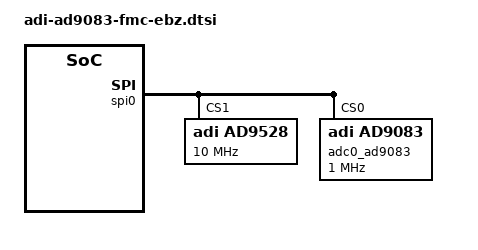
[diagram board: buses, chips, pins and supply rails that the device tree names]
// SPDX-License-Identifier: GPL-2.0
/*
 * dts file for AD9172-FMC-EBZ on Xilinx ZynqMP ZCU102 Rev 1.0
 *
 * Copyright (C) 2018-2019 Analog Devices Inc.
 */
#include <dt-bindings/iio/frequency/ad9528.h>
#include <dt-bindings/iio/adc/adi,ad9083.h>

&spi0 {
	ad9528: ad9528@1 {
		compatible = "adi,ad9528";
		reg = <1>;
		spi-cpol;
		spi-cpha;
		#address-cells = <1>;
		#size-cells = <0>;

		jesd204-device;
		#jesd204-cells = <2>;
		jesd204-sysref-provider;

		spi-max-frequency = <10000000>;
		adi,spi-3wire-enable;

		clock-output-names = "ad9528-1_out0", "ad9528-1_out1", "ad9528-1_out2",
			"ad9528-1_out3", "ad9528-1_out4", "ad9528-1_out5", "ad9528-1_out6",
			"ad9528-1_out7", "ad9528-1_out8", "ad9528-1_out9", "ad9528-1_out10",
			"ad9528-1_out11", "ad9528-1_out12", "ad9528-1_out13";
		#clock-cells = <1>;

		adi,vcxo-freq = <100000000>;

		adi,refa-enable;
		adi,refa-diff-rcv-enable;
		adi,refa-r-div = <1>;
		adi,osc-in-cmos-neg-inp-enable;

		/* SYSREF config */
		adi,sysref-src = <SYSREF_SRC_INTERNAL>;
		adi,sysref-pattern-mode = <SYSREF_PATTERN_NSHOT>;
		adi,sysref-k-div = <256>;
		adi,sysref-nshot-mode = <SYSREF_NSHOT_4_PULSES>;
		adi,sysref-request-trigger-mode = <SYSREF_LEVEL_HIGH>;
		adi,jesd204-max-sysref-frequency-hz = <400000>;

		/* PLL1 config */
		adi,pll1-feedback-src-vcxo;
		adi,pll1-feedback-div = <4>;
		adi,pll1-charge-pump-current-nA = <5000>;
		adi,osc-in-diff-enable;

		/* PLL2 config */
		/*
		 * Valid ranges based on VCO locking range:
		 *   1150.000 MHz - 1341.666 MHz
		 *    862.500 MHz - 1006.250 MHz
		 *    690.000 MHz -  805.000 MHz
		 */
		adi,pll2-m1-frequency = <1000000000>;
		adi,pll2-charge-pump-current-nA = <805000>;

		adi,rpole2 = <RPOLE2_900_OHM>;
		adi,rzero = <RZERO_1850_OHM>;
		adi,cpole1 = <CPOLE1_16_PF>;

		adi,status-mon-pin0-function-select = <0xFF>; /* No function */
		adi,status-mon-pin1-function-select = <0xFF>; /* No function */

		ad9528_0_c1: channel@1 {
			reg = <1>;
			adi,extended-name = "FPGA_GLBL_CLK";
			adi,driver-mode = <DRIVER_MODE_LVDS>;
			adi,divider-phase = <0>;
			adi,channel-divider = <8>; /* 125 MHz */
			adi,signal-source = <SOURCE_VCO>;
		};

		ad9528_0_c3: channel@3 {
			reg = <3>;
			adi,extended-name = "FPGA_REF_CLK";
			adi,driver-mode = <DRIVER_MODE_LVDS>;
			adi,divider-phase = <0>;
			adi,channel-divider = <2>; /* 500 MHz */
			adi,signal-source = <SOURCE_VCO>;
		};

		ad9528_0_c13: channel@13 {
			reg = <13>;
			adi,extended-name = "ADC_REF_CLK";
			adi,driver-mode = <DRIVER_MODE_LVDS>;
			adi,divider-phase = <0>;
			adi,channel-divider = <4>; /* 250 MHz */
			adi,signal-source = <SOURCE_VCO>;
		};

		ad9528_0_c12: channel@12 {
			reg = <12>;
			adi,extended-name = "DEV_SYSREF";
			adi,driver-mode = <DRIVER_MODE_LVDS>;
			adi,divider-phase = <0>;
			adi,channel-divider = <5>;
			adi,signal-source = <SOURCE_SYSREF_VCO>;
		};

		ad9528_0_c0: channel@0 {
			reg = <0>;
			adi,extended-name = "FMC_SYSREF";
			adi,driver-mode = <DRIVER_MODE_LVDS>;
			adi,divider-phase = <0>;
			adi,channel-divider = <5>;
			adi,signal-source = <SOURCE_SYSREF_VCO>;
		};
	};

	adc0_ad9083: ad9083@0 {
		compatible = "adi,ad9083";
		reg = <0>;

		jesd204-device;
		#jesd204-cells = <2>;
		jesd204-top-device = <0>;
		jesd204-link-ids = <0>;
		jesd204-inputs = <&axi_ad9083_core_rx 0 0>;

		spi-max-frequency = <1000000>;
		clocks = <&ad9528 13>;
		clock-names = "adc_ref_clk";
		adi,adc-frequency-hz= /bits/ 64 <2000000000>; /* 2 GHz */

		/* adi_ad9083 config */

		adi,vmax-microvolt = <1800>;
		adi,fc-hz =  /bits/ 64 <800000000>;
		adi,rterm-ohms = <100>;
		adi,backoff = <0>;
		adi,finmax-hz = /bits/ 64 <100000000>;
		adi,nco0_freq-hz = /bits/ 64 <0>;
		adi,nco1_freq-hz = /bits/ 64 <0>;
		adi,nco2_freq-hz = /bits/ 64 <0>;
		adi,cic_decimation = /bits/ 8 <AD9083_CIC_DEC_4>;
		adi,j_decimation = /bits/ 8 <AD9083_J_DEC_4>;
		adi,g_decimation = /bits/ 8 <0>;
		adi,h_decimation = /bits/ 8 <0>;
		adi,nco0_datapath_mode = /bits/ 8 <AD9083_DATAPATH_ADC_CIC_J>;

		/* JESD204 parameters */

		adi,octets-per-frame = <8>;
		adi,frames-per-multiframe = <32>;
		adi,converter-resolution = <16>;
		adi,bits-per-sample = <16>;
		adi,converters-per-device = <16>;
		adi,control-bits-per-sample = <0>;
		adi,lanes-per-device = <4>;
		adi,subclass = <0>;
	};
};

